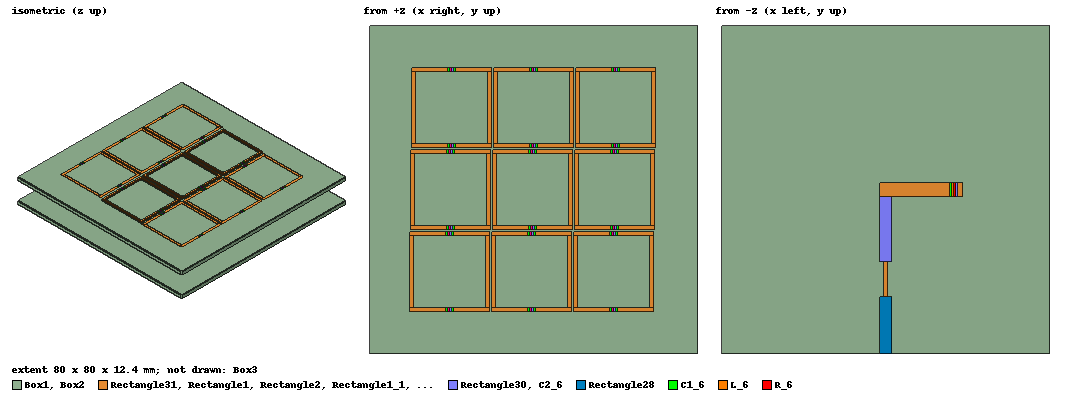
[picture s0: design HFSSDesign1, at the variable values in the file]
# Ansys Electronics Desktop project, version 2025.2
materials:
  vacuum: permittivity=1
  FR4_epoxy: permittivity=4.4 dielectric_loss_tangent=0.02
  air: permittivity=1.0006 permeability=1.0000004

design HFSSDesign1 (HFSS, HFSS Terminal Network, model units mm)
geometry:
  Box1 [FR4_epoxy] = box(corner=(0mm, 0mm, 0mm), size=(80mm, 80mm, 1.6mm))
  Box2 [FR4_epoxy] = box(corner=(0mm, 0mm, 10mm), size=(80mm, 80mm, 1.6mm))
  Rectangle1 = rectangle(corner=(50.25mm, 68.75mm, 11.6mm), x_size=19.5mm, y_size=1mm)
  Rectangle2 = rectangle(corner=(50.25mm, 50.25mm, 11.6mm), x_size=19.5mm, y_size=1mm)
  Rectangle19 = rectangle(corner=(59mm, 68.75mm, 11.6mm), x_size=2mm, y_size=1mm)
  Rectangle20 = rectangle(corner=(59mm, 50.25mm, 11.6mm), x_size=2mm, y_size=1mm)
  Rectangle2.subtract(Rectangle20)
  Rectangle1.subtract(Rectangle19)
  C1 = rectangle(corner=(59mm, 50.25mm, 11.6mm), x_size=0.5mm, y_size=1mm)
  C2 = rectangle(corner=(60.5mm, 50.25mm, 11.6mm), x_size=0.5mm, y_size=1mm)
  L = rectangle(corner=(59.5mm, 50.25mm, 11.6mm), x_size=0.5mm, y_size=1mm)
  R = rectangle(corner=(60mm, 50.25mm, 11.6mm), x_size=0.5mm, y_size=1mm)
  Rectangle21 = rectangle(corner=(69.75mm, 68.75mm, 11.6mm), x_size=-1mm, y_size=-17.5mm)
  Rectangle22 = rectangle(corner=(51.25mm, 68.75mm, 11.6mm), x_size=-1mm, y_size=-17.5mm)
  C3 = rectangle(corner=(59mm, 68.75mm, 11.6mm), x_size=0.5mm, y_size=1mm)
  C4 = rectangle(corner=(60.5mm, 68.75mm, 11.6mm), x_size=0.5mm, y_size=1mm)
  L1 = rectangle(corner=(59.5mm, 68.75mm, 11.6mm), x_size=0.5mm, y_size=1mm)
  R1 = rectangle(corner=(60mm, 68.75mm, 11.6mm), x_size=0.5mm, y_size=1mm)
  Rectangle1_1, Rectangle1_2 = Rectangle1.duplicate_along_line(step=(-0.25mm, -20mm, 0.4mm), total=3)
  Rectangle2_1, Rectangle2_2 = Rectangle2.duplicate_along_line(step=(-0.25mm, -20mm, 0.4mm), total=3)
  Rectangle21_1, Rectangle21_2 = Rectangle21.duplicate_along_line(step=(-0.25mm, -20mm, 0.4mm), total=3)
  Rectangle22_1, Rectangle22_2 = Rectangle22.duplicate_along_line(step=(-0.25mm, -20mm, 0.4mm), total=3)
  C1_1, C1_2 = C1.duplicate_along_line(step=(-0.25mm, -20mm, 0.4mm), total=3)
  C2_1, C2_2 = C2.duplicate_along_line(step=(-0.25mm, -20mm, 0.4mm), total=3)
  L_1, L_2 = L.duplicate_along_line(step=(-0.25mm, -20mm, 0.4mm), total=3)
  R_1, R_2 = R.duplicate_along_line(step=(-0.25mm, -20mm, 0.4mm), total=3)
  C3_1, C3_2 = C3.duplicate_along_line(step=(-0.25mm, -20mm, 0.4mm), total=3)
  C4_1, C4_2 = C4.duplicate_along_line(step=(-0.25mm, -20mm, 0.4mm), total=3)
  L1_1, L1_2 = L1.duplicate_along_line(step=(-0.25mm, -20mm, 0.4mm), total=3)
  R1_1, R1_2 = R1.duplicate_along_line(step=(-0.25mm, -20mm, 0.4mm), total=3)
  Rectangle1_3, Rectangle1_4 = Rectangle1.duplicate_along_line(step=(-20mm, 0mm, 0mm), total=3)
  Rectangle2_3, Rectangle2_4 = Rectangle2.duplicate_along_line(step=(-20mm, 0mm, 0mm), total=3)
  Rectangle21_3, Rectangle21_4 = Rectangle21.duplicate_along_line(step=(-20mm, 0mm, 0mm), total=3)
  Rectangle22_3, Rectangle22_4 = Rectangle22.duplicate_along_line(step=(-20mm, 0mm, 0mm), total=3)
  Rectangle1_1_1, Rectangle1_1_2 = Rectangle1_1.duplicate_along_line(step=(-20mm, 0mm, 0mm), total=3)
  Rectangle1_2_1, Rectangle1_2_2 = Rectangle1_2.duplicate_along_line(step=(-20mm, 0mm, 0mm), total=3)
  Rectangle2_1_1, Rectangle2_1_2 = Rectangle2_1.duplicate_along_line(step=(-20mm, 0mm, 0mm), total=3)
  Rectangle2_2_1, Rectangle2_2_2 = Rectangle2_2.duplicate_along_line(step=(-20mm, 0mm, 0mm), total=3)
  Rectangle21_1_1, Rectangle21_1_2 = Rectangle21_1.duplicate_along_line(step=(-20mm, 0mm, 0mm), total=3)
  Rectangle21_2_1, Rectangle21_2_2 = Rectangle21_2.duplicate_along_line(step=(-20mm, 0mm, 0mm), total=3)
  Rectangle22_1_1, Rectangle22_1_2 = Rectangle22_1.duplicate_along_line(step=(-20mm, 0mm, 0mm), total=3)
  Rectangle22_2_1, Rectangle22_2_2 = Rectangle22_2.duplicate_along_line(step=(-20mm, 0mm, 0mm), total=3)
  C1_3, C1_4 = C1.duplicate_along_line(step=(-20mm, 0mm, 0mm), total=3)
  C2_3, C2_4 = C2.duplicate_along_line(step=(-20mm, 0mm, 0mm), total=3)
  L_3, L_4 = L.duplicate_along_line(step=(-20mm, 0mm, 0mm), total=3)
  R_3, R_4 = R.duplicate_along_line(step=(-20mm, 0mm, 0mm), total=3)
  C1_1_1, C1_1_2 = C1_1.duplicate_along_line(step=(-20mm, 0mm, 0mm), total=3)
  C1_2_1, C1_2_2 = C1_2.duplicate_along_line(step=(-20mm, 0mm, 0mm), total=3)
  C2_1_1, C2_1_2 = C2_1.duplicate_along_line(step=(-20mm, 0mm, 0mm), total=3)
  C2_2_1, C2_2_2 = C2_2.duplicate_along_line(step=(-20mm, 0mm, 0mm), total=3)
  L_1_1, L_1_2 = L_1.duplicate_along_line(step=(-20mm, 0mm, 0mm), total=3)
  L_2_1, L_2_2 = L_2.duplicate_along_line(step=(-20mm, 0mm, 0mm), total=3)
  R_1_1, R_1_2 = R_1.duplicate_along_line(step=(-20mm, 0mm, 0mm), total=3)
  R_2_1, R_2_2 = R_2.duplicate_along_line(step=(-20mm, 0mm, 0mm), total=3)
  C3_3, C3_4 = C3.duplicate_along_line(step=(-20mm, 0mm, 0mm), total=3)
  C4_3, C4_4 = C4.duplicate_along_line(step=(-20mm, 0mm, 0mm), total=3)
  L1_3, L1_4 = L1.duplicate_along_line(step=(-20mm, 0mm, 0mm), total=3)
  R1_3, R1_4 = R1.duplicate_along_line(step=(-20mm, 0mm, 0mm), total=3)
  C3_1_1, C3_1_2 = C3_1.duplicate_along_line(step=(-20mm, 0mm, 0mm), total=3)
  C3_2_1, C3_2_2 = C3_2.duplicate_along_line(step=(-20mm, 0mm, 0mm), total=3)
  C4_1_1, C4_1_2 = C4_1.duplicate_along_line(step=(-20mm, 0mm, 0mm), total=3)
  C4_2_1, C4_2_2 = C4_2.duplicate_along_line(step=(-20mm, 0mm, 0mm), total=3)
  L1_1_1, L1_1_2 = L1_1.duplicate_along_line(step=(-20mm, 0mm, 0mm), total=3)
  L1_2_1, L1_2_2 = L1_2.duplicate_along_line(step=(-20mm, 0mm, 0mm), total=3)
  R1_1_1, R1_1_2 = R1_1.duplicate_along_line(step=(-20mm, 0mm, 0mm), total=3)
  R1_2_1, R1_2_2 = R1_2.duplicate_along_line(step=(-20mm, 0mm, 0mm), total=3)
  Rectangle23 = rectangle(corner=(38.5mm, 0mm, 1.6mm), x_size=3mm, y_size=14mm)
  Rectangle24 = rectangle(corner=(39.5mm, 14mm, 1.6mm), x_size=1mm, y_size=8.5mm)
  Rectangle25 = rectangle(corner=(38.5mm, 22.5mm, 1.6mm), x_size=3mm, y_size=15.75mm)
  Rectangle26 = rectangle(corner=(38.5mm, 38.25mm, 1.6mm), x_size=20.25mm, y_size=3.5mm)
  Rectangle27 = rectangle(corner=(57.5mm, 41.75mm, 1.6mm), x_size=-2mm, y_size=-3.5mm)
  Rectangle26.subtract(Rectangle27)
  C1_5 = rectangle(corner=(55.5mm, 38.25mm, 1.6mm), x_size=0.5mm, y_size=3.5mm)
  L_5 = rectangle(corner=(56mm, 38.25mm, 1.6mm), x_size=0.5mm, y_size=3.5mm)
  R_5 = rectangle(corner=(56.5mm, 38.25mm, 1.6mm), x_size=0.5mm, y_size=3.5mm)
  C2_5 = rectangle(corner=(57mm, 38.25mm, 1.6mm), x_size=0.5mm, y_size=3.5mm)
  Rectangle28 = rectangle(corner=(38.5mm, 0mm, 0mm), x_size=3mm, y_size=14mm)
  Rectangle29 = rectangle(corner=(39.5mm, 14mm, 0mm), x_size=1mm, y_size=8.5mm)
  Rectangle30 = rectangle(corner=(38.5mm, 22.5mm, 0mm), x_size=3mm, y_size=15.75mm)
  Rectangle31 = rectangle(corner=(21.25mm, 38.25mm, 0mm), x_size=20.25mm, y_size=3.5mm)
  Rectangle32 = rectangle(corner=(22.5mm, 38.25mm, 0mm), x_size=2mm, y_size=3.5mm)
  Rectangle31.subtract(Rectangle32)
  C1_6 = rectangle(corner=(24mm, 38.25mm, 0mm), x_size=0.5mm, y_size=3.5mm)
  L_6 = rectangle(corner=(23.5mm, 38.25mm, 0mm), x_size=0.5mm, y_size=3.5mm)
  R_6 = rectangle(corner=(23mm, 38.25mm, 0mm), x_size=0.5mm, y_size=3.5mm)
  C2_6 = rectangle(corner=(22.5mm, 38.25mm, 0mm), x_size=0.5mm, y_size=3.5mm)
  PORT1 = rectangle(corner=(38.5mm, 0mm, 1.6mm), z_size=-1.6mm, x_size=3mm)
  Box3 [air] = box(corner=(-37.5mm, -37.5mm, -37.5mm), size=(150mm, 150mm, 70mm))
  [Rectangle23..Rectangle26, C1_5, L_5, R_5, C2_5, Rectangle28..Rectangle31, C1_6, L_6, R_6, C2_6, PORT1, Box3, Box2, C1, C2, L, R, C1_1, C1_2, C2_1, C2_2, L_1, L_2, R_1, R_2, C1_3, C1_4, C2_3, C2_4, L_3, L_4, R_3, R_4, C1_1_1, C1_1_2, C1_2_1, C1_2_2, C2_1_1, C2_1_2, C2_2_1, C2_2_2, L_1_1, L_1_2, L_2_1, L_2_2, R_1_1, R_1_2, R_2_1, R_2_2, C3, C4, L1, R1, C3_1, C3_2, C4_1, C4_2, L1_1, L1_2, R1_1, R1_2, C3_3, C3_4, C4_3, C4_4, L1_3, L1_4, R1_3, R1_4, C3_1_1, C3_1_2, C3_2_1, C3_2_2, C4_1_1, C4_1_2, C4_2_1, C4_2_2, L1_1_1, L1_1_2, L1_2_1, L1_2_2, R1_1_1, R1_1_2, R1_2_1, R1_2_2, Rectangle1, Rectangle2, Rectangle21, Rectangle22, Rectangle1_1, Rectangle1_2, Rectangle2_1, Rectangle2_2, Rectangle21_1, Rectangle21_2, Rectangle22_1, Rectangle22_2, Rectangle1_3, Rectangle1_4, Rectangle2_3, Rectangle2_4, Rectangle21_3, Rectangle21_4, Rectangle22_3, Rectangle22_4, Rectangle1_1_1, Rectangle1_1_2, Rectangle1_2_1, Rectangle1_2_2, Rectangle2_1_1, Rectangle2_1_2, Rectangle2_2_1, Rectangle2_2_2, Rectangle21_1_1, Rectangle21_1_2, Rectangle21_2_1, Rectangle21_2_2, Rectangle22_1_1, Rectangle22_1_2, Rectangle22_2_1, Rectangle22_2_2, Box1].move(-40mm, -40mm, 0mm)
  [Rectangle23..Rectangle26, C1_5, L_5, R_5, C2_5, Rectangle28..Rectangle31, C1_6, L_6, R_6, C2_6, PORT1, Box3, Box2, C1, C2, L, R, C1_1, C1_2, C2_1, C2_2, L_1, L_2, R_1, R_2, C1_3, C1_4, C2_3, C2_4, L_3, L_4, R_3, R_4, C1_1_1, C1_1_2, C1_2_1, C1_2_2, C2_1_1, C2_1_2, C2_2_1, C2_2_2, L_1_1, L_1_2, L_2_1, L_2_2, R_1_1, R_1_2, R_2_1, R_2_2, C3, C4, L1, R1, C3_1, C3_2, C4_1, C4_2, L1_1, L1_2, R1_1, R1_2, C3_3, C3_4, C4_3, C4_4, L1_3, L1_4, R1_3, R1_4, C3_1_1, C3_1_2, C3_2_1, C3_2_2, C4_1_1, C4_1_2, C4_2_1, C4_2_2, L1_1_1, L1_1_2, L1_2_1, L1_2_2, R1_1_1, R1_1_2, R1_2_1, R1_2_2, Rectangle1, Rectangle2, Rectangle21, Rectangle22, Rectangle1_1, Rectangle1_2, Rectangle2_1, Rectangle2_2, Rectangle21_1, Rectangle21_2, Rectangle22_1, Rectangle22_2, Rectangle1_3, Rectangle1_4, Rectangle2_3, Rectangle2_4, Rectangle21_3, Rectangle21_4, Rectangle22_3, Rectangle22_4, Rectangle1_1_1, Rectangle1_1_2, Rectangle1_2_1, Rectangle1_2_2, Rectangle2_1_1, Rectangle2_1_2, Rectangle2_2_1, Rectangle2_2_2, Rectangle21_1_1, Rectangle21_1_2, Rectangle21_2_1, Rectangle21_2_2, Rectangle22_1_1, Rectangle22_1_2, Rectangle22_2_1, Rectangle22_2_2, Box1].move(0mm, 0mm, -6.6mm)
  [Rectangle23..Rectangle26, C1_5, L_5, R_5, C2_5, Rectangle28..Rectangle31, C1_6, L_6, R_6, C2_6, PORT1, Box3, Box2, C1, C2, L, R, C1_1, C1_2, C2_1, C2_2, L_1, L_2, R_1, R_2, C1_3, C1_4, C2_3, C2_4, L_3, L_4, R_3, R_4, C1_1_1, C1_1_2, C1_2_1, C1_2_2, C2_1_1, C2_1_2, C2_2_1, C2_2_2, L_1_1, L_1_2, L_2_1, L_2_2, R_1_1, R_1_2, R_2_1, R_2_2, C3, C4, L1, R1, C3_1, C3_2, C4_1, C4_2, L1_1, L1_2, R1_1, R1_2, C3_3, C3_4, C4_3, C4_4, L1_3, L1_4, R1_3, R1_4, C3_1_1, C3_1_2, C3_2_1, C3_2_2, C4_1_1, C4_1_2, C4_2_1, C4_2_2, L1_1_1, L1_1_2, L1_2_1, L1_2_2, R1_1_1, R1_1_2, R1_2_1, R1_2_2, Rectangle1, Rectangle2, Rectangle21, Rectangle22, Rectangle1_1, Rectangle1_2, Rectangle2_1, Rectangle2_2, Rectangle21_1, Rectangle21_2, Rectangle22_1, Rectangle22_2, Rectangle1_3, Rectangle1_4, Rectangle2_3, Rectangle2_4, Rectangle21_3, Rectangle21_4, Rectangle22_3, Rectangle22_4, Rectangle1_1_1, Rectangle1_1_2, Rectangle1_2_1, Rectangle1_2_2, Rectangle2_1_1, Rectangle2_1_2, Rectangle2_2_1, Rectangle2_2_2, Rectangle21_1_1, Rectangle21_1_2, Rectangle21_2_1, Rectangle21_2_2, Rectangle22_1_1, Rectangle22_1_2, Rectangle22_2_1, Rectangle22_2_2, Box1].move(-40mm, 0mm, 3.4mm)
  [Rectangle23..Rectangle26, C1_5, L_5, R_5, C2_5, Rectangle28..Rectangle31, C1_6, L_6, R_6, C2_6, PORT1, Box3, Box2, C1, C2, L, R, C1_1, C1_2, C2_1, C2_2, L_1, L_2, R_1, R_2, C1_3, C1_4, C2_3, C2_4, L_3, L_4, R_3, R_4, C1_1_1, C1_1_2, C1_2_1, C1_2_2, C2_1_1, C2_1_2, C2_2_1, C2_2_2, L_1_1, L_1_2, L_2_1, L_2_2, R_1_1, R_1_2, R_2_1, R_2_2, C3, C4, L1, R1, C3_1, C3_2, C4_1, C4_2, L1_1, L1_2, R1_1, R1_2, C3_3, C3_4, C4_3, C4_4, L1_3, L1_4, R1_3, R1_4, C3_1_1, C3_1_2, C3_2_1, C3_2_2, C4_1_1, C4_1_2, C4_2_1, C4_2_2, L1_1_1, L1_1_2, L1_2_1, L1_2_2, R1_1_1, R1_1_2, R1_2_1, R1_2_2, Rectangle1, Rectangle2, Rectangle21, Rectangle22, Rectangle1_1, Rectangle1_2, Rectangle2_1, Rectangle2_2, Rectangle21_1, Rectangle21_2, Rectangle22_1, Rectangle22_2, Rectangle1_3, Rectangle1_4, Rectangle2_3, Rectangle2_4, Rectangle21_3, Rectangle21_4, Rectangle22_3, Rectangle22_4, Rectangle1_1_1, Rectangle1_1_2, Rectangle1_2_1, Rectangle1_2_2, Rectangle2_1_1, Rectangle2_1_2, Rectangle2_2_1, Rectangle2_2_2, Rectangle21_1_1, Rectangle21_1_2, Rectangle21_2_1, Rectangle21_2_2, Rectangle22_1_1, Rectangle22_1_2, Rectangle22_2_1, Rectangle22_2_2, Box1].move(90mm, 0mm, -5mm)
  [Rectangle23..Rectangle26, C1_5, L_5, R_5, C2_5, Rectangle28..Rectangle31, C1_6, L_6, R_6, C2_6, PORT1, Box3, Box2, C1, C2, L, R, C1_1, C1_2, C2_1, C2_2, L_1, L_2, R_1, R_2, C1_3, C1_4, C2_3, C2_4, L_3, L_4, R_3, R_4, C1_1_1, C1_1_2, C1_2_1, C1_2_2, C2_1_1, C2_1_2, C2_2_1, C2_2_2, L_1_1, L_1_2, L_2_1, L_2_2, R_1_1, R_1_2, R_2_1, R_2_2, C3, C4, L1, R1, C3_1, C3_2, C4_1, C4_2, L1_1, L1_2, R1_1, R1_2, C3_3, C3_4, C4_3, C4_4, L1_3, L1_4, R1_3, R1_4, C3_1_1, C3_1_2, C3_2_1, C3_2_2, C4_1_1, C4_1_2, C4_2_1, C4_2_2, L1_1_1, L1_1_2, L1_2_1, L1_2_2, R1_1_1, R1_1_2, R1_2_1, R1_2_2, Rectangle1, Rectangle2, Rectangle21, Rectangle22, Rectangle1_1, Rectangle1_2, Rectangle2_1, Rectangle2_2, Rectangle21_1, Rectangle21_2, Rectangle22_1, Rectangle22_2, Rectangle1_3, Rectangle1_4, Rectangle2_3, Rectangle2_4, Rectangle21_3, Rectangle21_4, Rectangle22_3, Rectangle22_4, Rectangle1_1_1, Rectangle1_1_2, Rectangle1_2_1, Rectangle1_2_2, Rectangle2_1_1, Rectangle2_1_2, Rectangle2_2_1, Rectangle2_2_2, Rectangle21_1_1, Rectangle21_1_2, Rectangle21_2_1, Rectangle21_2_2, Rectangle22_1_1, Rectangle22_1_2, Rectangle22_2_1, Rectangle22_2_2, Box1].move(1mm, -0.375mm, 2.2mm)
  [Rectangle23..Rectangle26, C1_5, L_5, R_5, C2_5, Rectangle28..Rectangle31, C1_6, L_6, R_6, C2_6, PORT1, Box3, Box2, C1, C2, L, R, C1_1, C1_2, C2_1, C2_2, L_1, L_2, R_1, R_2, C1_3, C1_4, C2_3, C2_4, L_3, L_4, R_3, R_4, C1_1_1, C1_1_2, C1_2_1, C1_2_2, C2_1_1, C2_1_2, C2_2_1, C2_2_2, L_1_1, L_1_2, L_2_1, L_2_2, R_1_1, R_1_2, R_2_1, R_2_2, C3, C4, L1, R1, C3_1, C3_2, C4_1, C4_2, L1_1, L1_2, R1_1, R1_2, C3_3, C3_4, C4_3, C4_4, L1_3, L1_4, R1_3, R1_4, C3_1_1, C3_1_2, C3_2_1, C3_2_2, C4_1_1, C4_1_2, C4_2_1, C4_2_2, L1_1_1, L1_1_2, L1_2_1, L1_2_2, R1_1_1, R1_1_2, R1_2_1, R1_2_2, Rectangle1, Rectangle2, Rectangle21, Rectangle22, Rectangle1_1, Rectangle1_2, Rectangle2_1, Rectangle2_2, Rectangle21_1, Rectangle21_2, Rectangle22_1, Rectangle22_2, Rectangle1_3, Rectangle1_4, Rectangle2_3, Rectangle2_4, Rectangle21_3, Rectangle21_4, Rectangle22_3, Rectangle22_4, Rectangle1_1_1, Rectangle1_1_2, Rectangle1_2_1, Rectangle1_2_2, Rectangle2_1_1, Rectangle2_1_2, Rectangle2_2_1, Rectangle2_2_2, Rectangle21_1_1, Rectangle21_1_2, Rectangle21_2_1, Rectangle21_2_2, Rectangle22_1_1, Rectangle22_1_2, Rectangle22_2_1, Rectangle22_2_2, Box1].move(-49.5mm, 0.375mm, 4.4mm)
  [Rectangle23..Rectangle26, C1_5, L_5, R_5, C2_5, Rectangle28..Rectangle31, C1_6, L_6, R_6, C2_6, PORT1, Box3, Box2, C1, C2, L, R, C1_1, C1_2, C2_1, C2_2, L_1, L_2, R_1, R_2, C1_3, C1_4, C2_3, C2_4, L_3, L_4, R_3, R_4, C1_1_1, C1_1_2, C1_2_1, C1_2_2, C2_1_1, C2_1_2, C2_2_1, C2_2_2, L_1_1, L_1_2, L_2_1, L_2_2, R_1_1, R_1_2, R_2_1, R_2_2, C3, C4, L1, R1, C3_1, C3_2, C4_1, C4_2, L1_1, L1_2, R1_1, R1_2, C3_3, C3_4, C4_3, C4_4, L1_3, L1_4, R1_3, R1_4, C3_1_1, C3_1_2, C3_2_1, C3_2_2, C4_1_1, C4_1_2, C4_2_1, C4_2_2, L1_1_1, L1_1_2, L1_2_1, L1_2_2, R1_1_1, R1_1_2, R1_2_1, R1_2_2, Rectangle1, Rectangle2, Rectangle21, Rectangle22, Rectangle1_1, Rectangle1_2, Rectangle2_1, Rectangle2_2, Rectangle21_1, Rectangle21_2, Rectangle22_1, Rectangle22_2, Rectangle1_3, Rectangle1_4, Rectangle2_3, Rectangle2_4, Rectangle21_3, Rectangle21_4, Rectangle22_3, Rectangle22_4, Rectangle1_1_1, Rectangle1_1_2, Rectangle1_2_1, Rectangle1_2_2, Rectangle2_1_1, Rectangle2_1_2, Rectangle2_2_1, Rectangle2_2_2, Rectangle21_1_1, Rectangle21_1_2, Rectangle21_2_1, Rectangle21_2_2, Rectangle22_1_1, Rectangle22_1_2, Rectangle22_2_1, Rectangle22_2_2, Box1].move(-1.5mm, 0mm, -10mm)
  [Rectangle23..Rectangle26, C1_5, L_5, R_5, C2_5, Rectangle28..Rectangle31, C1_6, L_6, R_6, C2_6, PORT1, Box3, Box2, C1, C2, L, R, C1_1, C1_2, C2_1, C2_2, L_1, L_2, R_1, R_2, C1_3, C1_4, C2_3, C2_4, L_3, L_4, R_3, R_4, C1_1_1, C1_1_2, C1_2_1, C1_2_2, C2_1_1, C2_1_2, C2_2_1, C2_2_2, L_1_1, L_1_2, L_2_1, L_2_2, R_1_1, R_1_2, R_2_1, R_2_2, C3, C4, L1, R1, C3_1, C3_2, C4_1, C4_2, L1_1, L1_2, R1_1, R1_2, C3_3, C3_4, C4_3, C4_4, L1_3, L1_4, R1_3, R1_4, C3_1_1, C3_1_2, C3_2_1, C3_2_2, C4_1_1, C4_1_2, C4_2_1, C4_2_2, L1_1_1, L1_1_2, L1_2_1, L1_2_2, R1_1_1, R1_1_2, R1_2_1, R1_2_2, Rectangle1, Rectangle2, Rectangle21, Rectangle22, Rectangle1_1, Rectangle1_2, Rectangle2_1, Rectangle2_2, Rectangle21_1, Rectangle21_2, Rectangle22_1, Rectangle22_2, Rectangle1_3, Rectangle1_4, Rectangle2_3, Rectangle2_4, Rectangle21_3, Rectangle21_4, Rectangle22_3, Rectangle22_4, Rectangle1_1_1, Rectangle1_1_2, Rectangle1_2_1, Rectangle1_2_2, Rectangle2_1_1, Rectangle2_1_2, Rectangle2_2_1, Rectangle2_2_2, Rectangle21_1_1, Rectangle21_1_2, Rectangle21_2_1, Rectangle21_2_2, Rectangle22_1_1, Rectangle22_1_2, Rectangle22_2_1, Rectangle22_2_2, Box1].move(0mm, 0mm, 5mm)
  [Box3, Box2, C1, C2, L, R, C1_1, C1_2, C2_1, C2_2, L_1, L_2, R_1, R_2, C1_3, C1_4, C2_3, C2_4, L_3, L_4, R_3, R_4, C1_1_1, C1_1_2, C1_2_1, C1_2_2, C2_1_1, C2_1_2, C2_2_1, C2_2_2, L_1_1, L_1_2, L_2_1, L_2_2, R_1_1, R_1_2, R_2_1, R_2_2, C3, C4, L1, R1, C3_1, C3_2, C4_1, C4_2, L1_1, L1_2, R1_1, R1_2, C3_3, C3_4, C4_3, C4_4, L1_3, L1_4, R1_3, R1_4, C3_1_1, C3_1_2, C3_2_1, C3_2_2, C4_1_1, C4_1_2, C4_2_1, C4_2_2, L1_1_1, L1_1_2, L1_2_1, L1_2_2, R1_1_1, R1_1_2, R1_2_1, R1_2_2, Rectangle1, Rectangle2, Rectangle21, Rectangle22, Rectangle1_1, Rectangle1_2, Rectangle2_1, Rectangle2_2, Rectangle21_1, Rectangle21_2, Rectangle22_1, Rectangle22_2, Rectangle1_3, Rectangle1_4, Rectangle2_3, Rectangle2_4, Rectangle21_3, Rectangle21_4, Rectangle22_3, Rectangle22_4, Rectangle1_1_1, Rectangle1_1_2, Rectangle1_2_1, Rectangle1_2_2, Rectangle2_1_1, Rectangle2_1_2, Rectangle2_2_1, Rectangle2_2_2, Rectangle21_1_1, Rectangle21_1_2, Rectangle21_2_1, Rectangle21_2_2, Rectangle22_1_1, Rectangle22_1_2, Rectangle22_2_1, Rectangle22_2_2, Box1, Rectangle23..Rectangle26, C1_5, L_5, R_5, C2_5, Rectangle28..Rectangle31, C1_6, L_6, R_6, C2_6, PORT1].rotate(axis=X, angle=90deg)
  [Box3, Box2, C1, C2, L, R, C1_1, C1_2, C2_1, C2_2, L_1, L_2, R_1, R_2, C1_3, C1_4, C2_3, C2_4, L_3, L_4, R_3, R_4, C1_1_1, C1_1_2, C1_2_1, C1_2_2, C2_1_1, C2_1_2, C2_2_1, C2_2_2, L_1_1, L_1_2, L_2_1, L_2_2, R_1_1, R_1_2, R_2_1, R_2_2, C3, C4, L1, R1, C3_1, C3_2, C4_1, C4_2, L1_1, L1_2, R1_1, R1_2, C3_3, C3_4, C4_3, C4_4, L1_3, L1_4, R1_3, R1_4, C3_1_1, C3_1_2, C3_2_1, C3_2_2, C4_1_1, C4_1_2, C4_2_1, C4_2_2, L1_1_1, L1_1_2, L1_2_1, L1_2_2, R1_1_1, R1_1_2, R1_2_1, R1_2_2, Rectangle1, Rectangle2, Rectangle21, Rectangle22, Rectangle1_1, Rectangle1_2, Rectangle2_1, Rectangle2_2, Rectangle21_1, Rectangle21_2, Rectangle22_1, Rectangle22_2, Rectangle1_3, Rectangle1_4, Rectangle2_3, Rectangle2_4, Rectangle21_3, Rectangle21_4, Rectangle22_3, Rectangle22_4, Rectangle1_1_1, Rectangle1_1_2, Rectangle1_2_1, Rectangle1_2_2, Rectangle2_1_1, Rectangle2_1_2, Rectangle2_2_1, Rectangle2_2_2, Rectangle21_1_1, Rectangle21_1_2, Rectangle21_2_1, Rectangle21_2_2, Rectangle22_1_1, Rectangle22_1_2, Rectangle22_2_1, Rectangle22_2_2, Box1, Rectangle23..Rectangle26, C1_5, L_5, R_5, C2_5, Rectangle28..Rectangle31, C1_6, L_6, R_6, C2_6, PORT1].rotate(axis=X, angle=180deg)
  [Box3, Box2, C1, C2, L, R, C1_1, C1_2, C2_1, C2_2, L_1, L_2, R_1, R_2, C1_3, C1_4, C2_3, C2_4, L_3, L_4, R_3, R_4, C1_1_1, C1_1_2, C1_2_1, C1_2_2, C2_1_1, C2_1_2, C2_2_1, C2_2_2, L_1_1, L_1_2, L_2_1, L_2_2, R_1_1, R_1_2, R_2_1, R_2_2, C3, C4, L1, R1, C3_1, C3_2, C4_1, C4_2, L1_1, L1_2, R1_1, R1_2, C3_3, C3_4, C4_3, C4_4, L1_3, L1_4, R1_3, R1_4, C3_1_1, C3_1_2, C3_2_1, C3_2_2, C4_1_1, C4_1_2, C4_2_1, C4_2_2, L1_1_1, L1_1_2, L1_2_1, L1_2_2, R1_1_1, R1_1_2, R1_2_1, R1_2_2, Rectangle1, Rectangle2, Rectangle21, Rectangle22, Rectangle1_1, Rectangle1_2, Rectangle2_1, Rectangle2_2, Rectangle21_1, Rectangle21_2, Rectangle22_1, Rectangle22_2, Rectangle1_3, Rectangle1_4, Rectangle2_3, Rectangle2_4, Rectangle21_3, Rectangle21_4, Rectangle22_3, Rectangle22_4, Rectangle1_1_1, Rectangle1_1_2, Rectangle1_2_1, Rectangle1_2_2, Rectangle2_1_1, Rectangle2_1_2, Rectangle2_2_1, Rectangle2_2_2, Rectangle21_1_1, Rectangle21_1_2, Rectangle21_2_1, Rectangle21_2_2, Rectangle22_1_1, Rectangle22_1_2, Rectangle22_2_1, Rectangle22_2_2, Box1, Rectangle23..Rectangle26, C1_5, L_5, R_5, C2_5, Rectangle28..Rectangle31, C1_6, L_6, R_6, C2_6, PORT1].rotate(axis=X, angle=-270deg)
  group Group1 = C1, C2, L, R, C1_1, C1_2, C2_1, C2_2, L_1, L_2, R_1, R_2, C1_3, C1_4, C2_3, C2_4, L_3, L_4, R_3, R_4, C1_1_1, C1_1_2, C1_2_1, C1_2_2, C2_1_1, C2_1_2, C2_2_1, C2_2_2, L_1_1, L_1_2, L_2_1, L_2_2, R_1_1, R_1_2, R_2_1, R_2_2
  group Group2 = C3, C4, L1, R1, C3_1, C3_2, C4_1, C4_2, L1_1, L1_2, R1_1, R1_2, C3_3, C3_4, C4_3, C4_4, L1_3, L1_4, R1_3, R1_4, C3_1_1, C3_1_2, C3_2_1, C3_2_2, C4_1_1, C4_1_2, C4_2_1, C4_2_2, L1_1_1, L1_1_2, L1_2_1, L1_2_2, R1_1_1, R1_1_2, R1_2_1, R1_2_2
  group Group3 = Rectangle1, Rectangle2, Rectangle21, Rectangle22, Rectangle1_1, Rectangle1_2, Rectangle2_1, Rectangle2_2, Rectangle21_1, Rectangle21_2, Rectangle22_1, Rectangle22_2, Rectangle1_3, Rectangle1_4, Rectangle2_3, Rectangle2_4, Rectangle21_3, Rectangle21_4, Rectangle22_3, Rectangle22_4, Rectangle1_1_1, Rectangle1_1_2, Rectangle1_2_1, Rectangle1_2_2, Rectangle2_1_1, Rectangle2_1_2, Rectangle2_2_1, Rectangle2_2_2, Rectangle21_1_1, Rectangle21_1_2, Rectangle21_2_1, Rectangle21_2_2, Rectangle22_1_1, Rectangle22_1_2, Rectangle22_2_1, Rectangle22_2_2
  group metasurface = Box2
  group Antenna = Box1
  group RIS = Box3
  group DIPOLE = Rectangle23..Rectangle26, C1_5, L_5, R_5, C2_5, Rectangle28..Rectangle31, C1_6, L_6, R_6, C2_6, PORT1
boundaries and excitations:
  LumpRLC1: Lumped RLC Objects=C1_5 CurrentLine{(16, 0, -5) -> (15.5, 0, -5)} RLC_Type=Serial Capacitance=32pF
  LumpRLC2: Lumped RLC Objects=C2_5 CurrentLine{(17.5, 0, -5) -> (17, 0, -5)} RLC_Type=Serial Capacitance=32pF
  LumpRLC3: Lumped RLC Objects=L_5 CurrentLine{(16.5, 0, -5) -> (16, 0, -5)} RLC_Type=Serial Inductance=0.4nH
  LumpRLC4: Lumped RLC Objects=R_5 CurrentLine{(17, 0, -5) -> (16.5, 0, -5)} RLC_Type=Parallel Resistance=15kOhm Capacitance=32pF
  LumpRLC5: Lumped RLC Objects=C1_6 CurrentLine{(-16, 0, -6.6) -> (-15.5, 0, -6.6)} RLC_Type=Serial Capacitance=32pF
  LumpRLC6: Lumped RLC Objects=C2_6 CurrentLine{(-17.5, 0, -6.6) -> (-17, 0, -6.6)} RLC_Type=Serial Capacitance=32pF
  LumpRLC7: Lumped RLC Objects=L_6 CurrentLine{(-16.5, 0, -6.6) -> (-16, 0, -6.6)} RLC_Type=Serial Inductance=0.4nH
  LumpRLC8: Lumped RLC Objects=R_6 CurrentLine{(-17, 0, -6.6) -> (-16.5, 0, -6.6)} RLC_Type=Parallel Resistance=15kOhm Capacitance=32pF
  Rad1: Radiation Objects=Box3
  PerfE1: Perfect E Objects=[Rectangle31, Rectangle26, Rectangle30, Rectangle25, Rectangle24, Rectangle29, Rectangle28, Rectangle23, PORT1]
  meta_R: Lumped RLC Objects=[R, R1, R_1, R1_2, R_2, R_2_1, R1_2_1, R_1_1, R1_1_1, R_3, R1_3, R1_4, R_4, R1_1_2, R1_2_2, R_1_2, R_2_2] CurrentLine{(0, -29.25, 5.8) -> (-0.5, -29.25, 5.8)} RLC_Type=Serial Resistance=2ohm
  meta_C1: Lumped RLC Objects=[C1, C3, C3_1, C1_1, C3_2, C1_2, C1_2_1, C3_2_1, C1_1_1, C3_1_1, C1_3, C3_3, C3_4, C1_4, C3_1_2, C1_1_2, C3_2_2, C1_2_2] CurrentLine{(-21, -29.25, 5.8) -> (-21.5, -29.25, 5.8)} RLC_Type=Serial Capacitance=0.5uF
  meta_C2: Lumped RLC Objects=[C2, C4_1, C4, C2_1, C4_2, C2_2, C2_2_1, C4_2_1, C2_1_1, C4_1_1, C2_3, C4_3, C2_2_2, C4_2_2, C2_1_2, C4_1_2, C2_4, C4_4] CurrentLine{(-19.25, 9.25, 5.4) -> (-19.75, 9.25, 5.4)} RLC_Type=Serial Capacitance=0.5uF
  meta_L: Lumped RLC Objects=[L1, L, L1_1, L1_2, L_1, L_2, L_2_1, L1_2_1, L_1_1, L1_1_1, L_3, L1_3, L1_4, L_4, L1_1_2, L_1_2, L1_2_2, L_2_2] CurrentLine{(-20.5, -29.25, 5.8) -> (-21, -29.25, 5.8)} RLC_Type=Serial Inductance=0.4nH
  meta_perfE: Perfect E Objects=[Rectangle22_2_2, Rectangle2_2_2, Rectangle2_2_1, Rectangle21_2_2, Rectangle22_2_1, Rectangle1_2_2, Rectangle21_2_1, Rectangle1_2_1, Rectangle2_2, Rectangle22_2, Rectangle21_2, Rectangle1_2, Rectangle2_1, Rectangle22_1, Rectangle21_1, Rectangle1_1, Rectangle21_1_1, Rectangle2_1_1, Rectangle1_1_1, Rectangle22_1_1, Rectangle21_1_2, Rectangle2_1_2, Rectangle22_1_2, Rectangle1_1_2, Rectangle2_4, Rectangle21_4, Rectangle22_3, Rectangle2_3, Rectangle21_3, Rectangle22, Rectangle2, Rectangle21, Rectangle1, Rectangle1_3, Rectangle1_4, Rectangle22_4]
  1: Lumped Port Objects=PORT1 LumpedPortType=Modal Modes{Mode1{IntLine{(0, -40, -6.6) -> (0, -40, -5)} CharImp=Zpi RenormImp=50ohm}} Impedance=50ohm
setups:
  Setup1: HfssDriven Frequency=2.4GHz MaxDeltaS=0.02 MaximumPasses=40 MinimumPasses=1 MinimumConvergedPasses=1 PercentRefinement=30 BasisOrder=1 PortAccuracy=2 DrivenSolverType="Direct Solver"
    sweep Sweep: 1.2GHz to 3.6GHz, 101 points; Type=Fast SaveFields
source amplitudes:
  1:1: 1V 0deg
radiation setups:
  Infinite Sphere1: Infinite Sphere Theta=0deg..360deg step 2deg Phi=-180deg..180deg step 2deg
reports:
  Directivity Plot1: dB(DirTotal) vs Phi, Theta on Setup1 : LastAdaptive, Infinite Sphere1 [Freq=2.4GHz]
  S Parameter Plot1: dB(S(1,1)) vs Freq on Setup1 : Sweep
  Terminal S Parameter Chart1: St(1,1) on Setup1 : Sweep [Freq=all]; markers m1 at 2.616GHz
